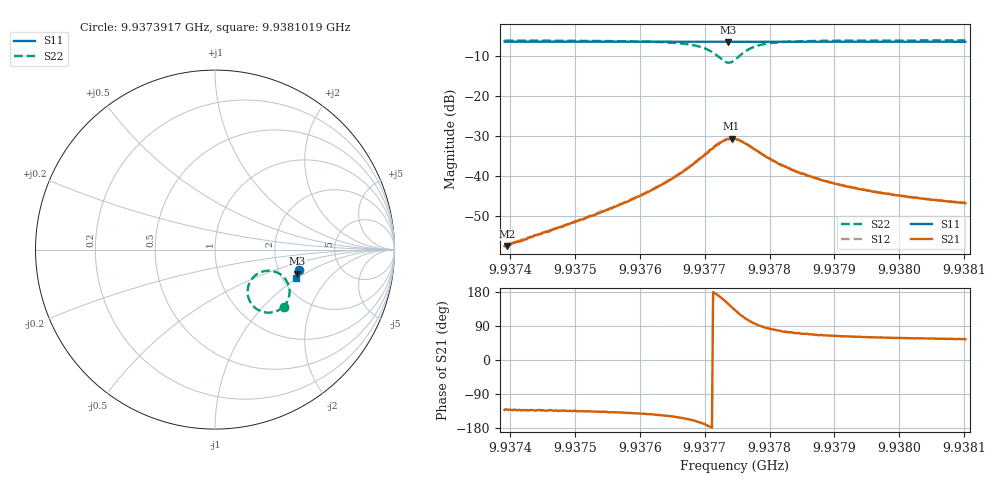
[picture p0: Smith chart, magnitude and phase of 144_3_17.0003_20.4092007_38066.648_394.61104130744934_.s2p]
#  HZ  S  RI  R  50.00
! Rohde & Schwarz Vector Network Analyzer
! Rohde-Schwarz,ZNB20-2Port,1311601062101988,3.16
! Created: UTC 3/20/2024, 10:58:34 PM
! freq[Hz]  re:S11  im:S11  re:S21  im:S21  re:S12  im:S12  re:S22  im:S22
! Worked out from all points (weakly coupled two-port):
!   401 points, 9.9373917 GHz to 9.9381019 GHz, reference 50 ohm
!   highest |S21| = -30.65 dB at 9.9377415 GHz (marker M1); lowest = -57.6 dB at 9.9373952 GHz (marker M2)
!   lowest |S11| = -6.4 dB at 9.9377361 GHz (marker M3), VSWR 2.83, Z = 124 - j43.1 ohm
!   |S11| at or under -10 dB: nowhere
!   |S22| runs from -11.6 to -6.0 dB; largest |S21 - S12| = 0.0014
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9.93739169e9  0.4697 -0.1124  -0.000879 -0.00099  -0.000907 -0.000979  0.3822 -0.3173
9.93739524e9  0.4699 -0.1126  -0.000862 -0.001  -0.000925 -0.00101  0.382 -0.3178
9.93751065e9  0.4671 -0.1203  -0.00202 -0.00202  -0.00209 -0.002  0.3663 -0.33
9.93758167e9  0.4655 -0.1253  -0.00365 -0.00309  -0.00378 -0.00312  0.3484 -0.3402
9.9376296e9  0.4643 -0.1286  -0.0061 -0.00426  -0.00631 -0.00424  0.325 -0.3483
9.93766866e9  0.4628 -0.1314  -0.0105 -0.00509  -0.0108 -0.005  0.2867 -0.3506
9.93769885e9  0.4613 -0.1334  -0.0176 -0.00364  -0.0182 -0.00309  0.2294 -0.3288
9.93771127e9  0.4604 -0.1339  -0.0218 -0.000475  -0.0223 0.000171  0.1996 -0.2972
9.93772193e9  0.4596 -0.1341  -0.0248 0.0049  -0.0254 0.00569  0.1823 -0.2501
9.9377308e9  0.4593 -0.1338  -0.0256 0.0111  -0.0258 0.0124  0.187 -0.1988
9.93773613e9  0.4591 -0.1338  -0.0246 0.0152  -0.0245 0.0163  0.2021 -0.1682
9.93774146e9  0.4593 -0.1336  -0.0224 0.0189  -0.0221 0.0201  0.2261 -0.1428
9.93774678e9  0.4593 -0.1335  -0.0193 0.0219  -0.0186 0.0228  0.256 -0.1255
9.93775566e9  0.4597 -0.1337  -0.0131 0.0241  -0.0123 0.0248  0.3072 -0.1179
9.93776631e9  0.4603 -0.1343  -0.00682 0.0236  -0.00588 0.024  0.3563 -0.133
9.93778584e9  0.4609 -0.1357  4.2e-06 0.0193  0.000455 0.0195  0.4007 -0.1779
9.9378178e9  0.4605 -0.1385  0.00324 0.0132  0.0036 0.0135  0.4154 -0.2306
9.93784088e9  0.4601 -0.1404  0.00371 0.0107  0.00397 0.0107  0.4142 -0.253
9.93786574e9  0.4596 -0.1421  0.00377 0.00899  0.00396 0.00882  0.4105 -0.2691
9.93791545e9  0.4583 -0.1456  0.00348 0.00669  0.00363 0.00668  0.4029 -0.2883
9.93798469e9  0.4565 -0.1503  0.00306 0.0051  0.00322 0.00508  0.3943 -0.304
9.93810187e9  0.4536 -0.1579  0.00263 0.00374  0.00271 0.00377  0.3831 -0.3193
